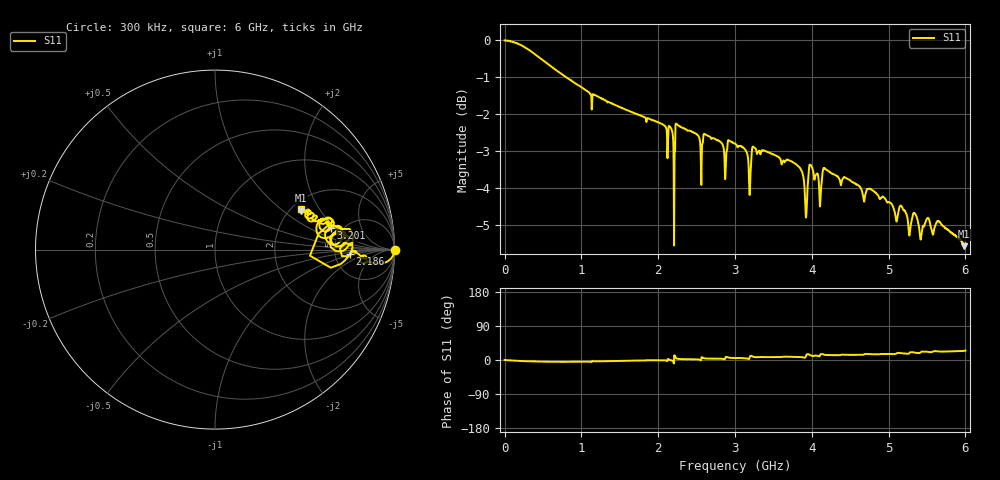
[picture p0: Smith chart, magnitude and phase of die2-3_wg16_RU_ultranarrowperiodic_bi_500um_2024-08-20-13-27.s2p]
!Keysight Technologies,P9374A,MY57304198,A.17.20.09
!Date: Tuesday, August 20, 2024 13:27:06
!Correction: S11(C  1-Port  )
!S21(C  1-Port  )
!S12(Off)
!S22(Off)
!S2P File: Measurements: S11, S21, S12, S22:
# Hz S  dB  R 50
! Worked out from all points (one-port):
!   6000 points, 300 kHz to 6 GHz, reference 50 ohm
!   lowest |S11| = -5.6 dB at 5.982 GHz (marker M1), VSWR 3.22, Z = 114 + j68.2 ohm
!   |S11| at or under -10 dB: nowhere
!   S11 on the Smith chart (normalised r, x): 300 kHz: open; 2.186 GHz: 6.93, -0.82; 3.201 GHz: 4.05, +1.71; 6 GHz: 2.25, +1.40
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300000  0.00 -0.0  -200.00 45.0  -200.00 45.0  -200.00 45.0
4.173487e8  -0.41 -4.2  -200.00 45.0  -200.00 45.0  -200.00 45.0
1.000417e9  -1.27 -4.5  -200.00 45.0  -200.00 45.0  -200.00 45.0
2.000533e9  -2.22 -0.5  -200.00 45.0  -200.00 45.0  -200.00 45.0
2.163552e9  -2.37 -0.3  -200.00 45.0  -200.00 45.0  -200.00 45.0
2.185555e9  -2.49 -2.0  -200.00 45.0  -200.00 45.0  -200.00 45.0
2.237561e9  -2.26 4.4  -200.00 45.0  -200.00 45.0  -200.00 45.0
2.529595e9  -2.61 1.4  -200.00 45.0  -200.00 45.0  -200.00 45.0
2.591602e9  -2.55 5.3  -200.00 45.0  -200.00 45.0  -200.00 45.0
3.00065e9  -2.80 5.3  -200.00 45.0  -200.00 45.0  -200.00 45.0
3.159669e9  -3.08 4.0  -200.00 45.0  -200.00 45.0  -200.00 45.0
3.200673e9  -3.66 10.6  -200.00 45.0  -200.00 45.0  -200.00 45.0
3.251679e9  -2.91 7.9  -200.00 45.0  -200.00 45.0  -200.00 45.0
3.745737e9  -3.29 8.5  -200.00 45.0  -200.00 45.0  -200.00 45.0
3.891754e9  -3.71 6.8  -200.00 45.0  -200.00 45.0  -200.00 45.0
3.929758e9  -4.71 13.1  -200.00 45.0  -200.00 45.0  -200.00 45.0
4.000767e9  -3.43 11.3  -200.00 45.0  -200.00 45.0  -200.00 45.0
4.11178e9  -4.33 14.7  -200.00 45.0  -200.00 45.0  -200.00 45.0
4.187789e9  -3.50 13.2  -200.00 45.0  -200.00 45.0  -200.00 45.0
5.000883e9  -4.39 16.0  -200.00 45.0  -200.00 45.0  -200.00 45.0
5.981998e9  -5.58 24.4  -200.00 45.0  -200.00 45.0  -200.00 45.0
6e9  -5.52 25.0  -200.00 45.0  -200.00 45.0  -200.00 45.0
